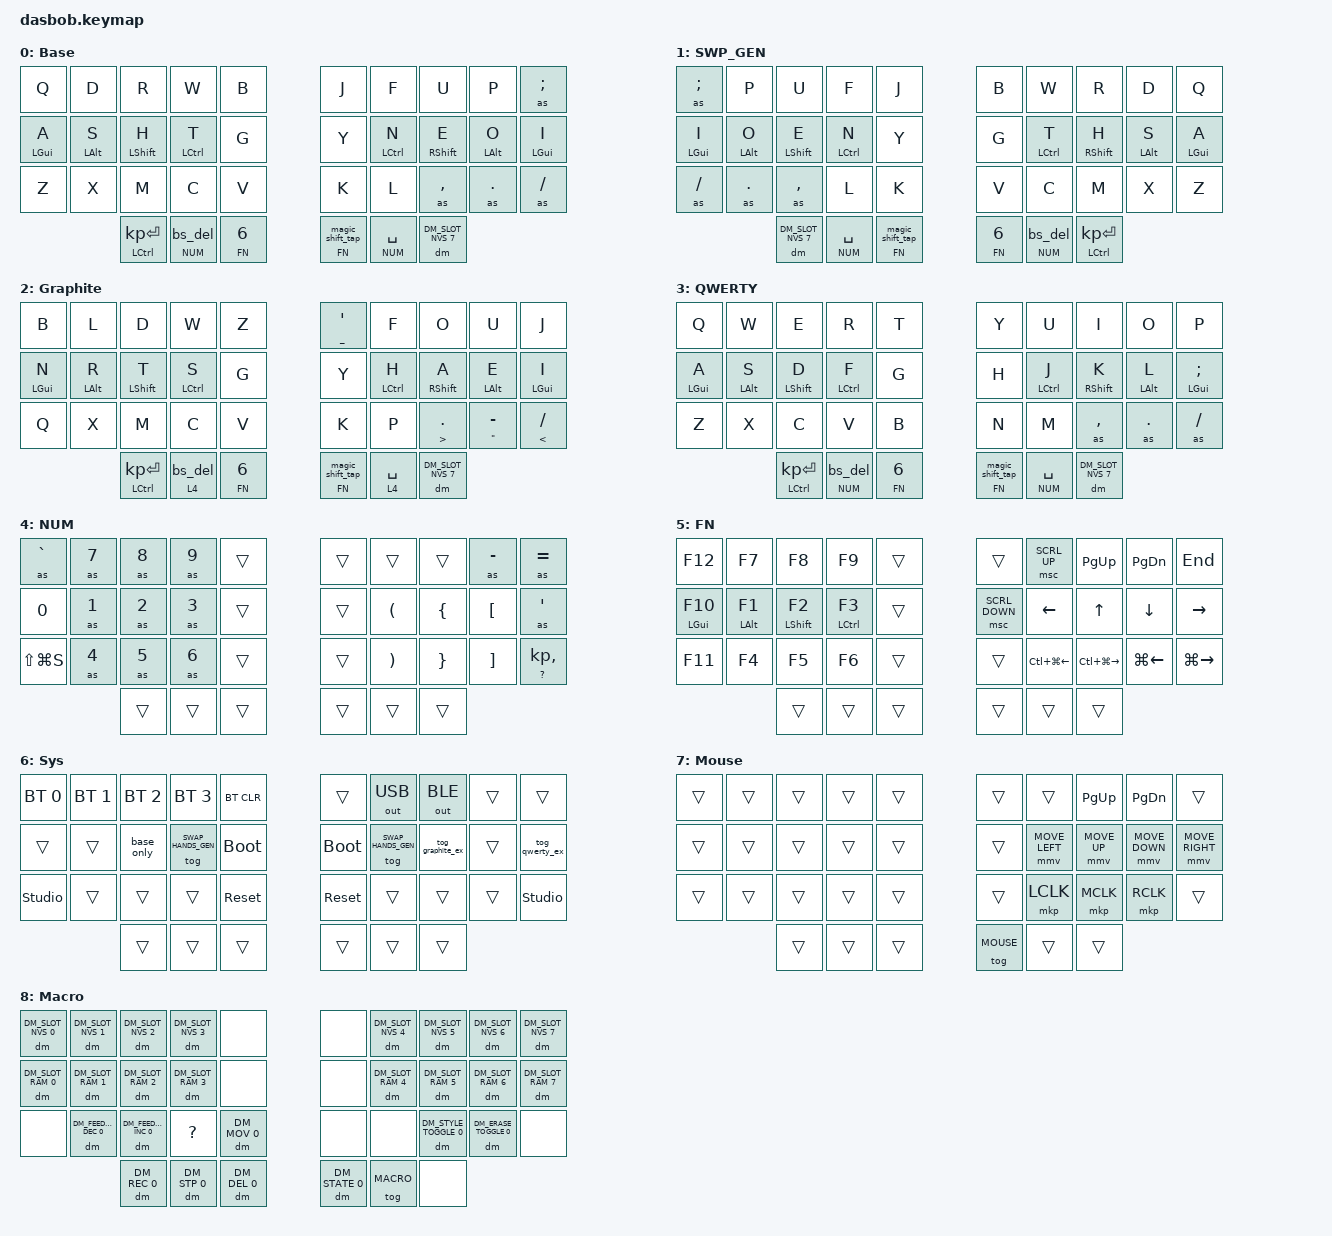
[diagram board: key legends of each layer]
#include <behaviors/num_word.dtsi>

/* Mouse settings - must be before pointing.h */

#define ZMK_POINTING_DEFAULT_MOVE_VAL 600
#define ZMK_POINTING_DEFAULT_SCRL_VAL 20

#include <input/processors.dtsi>
#include <zephyr/dt-bindings/input/input-event-codes.h>
#include <dt-bindings/zmk/dynamic_macros.h>
#include <behaviors/dynamic_macro.dtsi>
#include <behaviors.dtsi>
#include <dt-bindings/zmk/bt.h>
#include <dt-bindings/zmk/keys.h>
#include <dt-bindings/zmk/outputs.h>
#include <dt-bindings/zmk/pointing.h>

#define BASE 0
#define SWAP_HANDS_GEN 1
#define GRAPHITE 2
#define QWERTY 3
#define NUM 4
#define FN 5
#define SYS 6
#define MOUSE 7
#define MACRO 8
#define LAYERS_TYPING BASE SWAP_HANDS_GEN GRAPHITE QWERTY NUM
#define KEYS_L 0 1 2 3 4 10 11 12 13 14 20 21 22 23 24
#define KEYS_R 5 6 7 8 9 15 16 17 18 19 25 26 27 28 29
#define THUMBS 30 31 32 33 34 35
#define QUICK_TAP_MS 175

&sk {
    release-after-ms = <900>;
    quick-release;
};

&sl {
    ignore-modifiers;
    release-after-ms = <2500>;
};

&lt {
    flavor = "balanced";
    tapping-term-ms = <200>;
    quick-tap-ms = <175>;
};

&mmv {
    acceleration-exponent = <1>;
    time-to-max-speed-ms = <500>;
    delay-ms = <0>;
};

&msc {
    acceleration-exponent = <0>;
    time-to-max-speed-ms = <300>;
    delay-ms = <0>;
};

/* Pointer sensitivity overrides (trackpad / trackball via input-listeners).
 * warp: faster cursor/scroll when the layer is active.
 * precision: slower cursor/scroll for fine control.
 * urob uses NAV + FN; on Dasbob that maps to FN (Nav) + NUM (sym). */

&mmv_input_listener {
    warp {
        layers = <FN MOUSE>;
        input-processors = <&zip_xy_scaler 3 1>;
    };

    precision {
        layers = <NUM>;
        input-processors = <&zip_xy_scaler 1 2>;
    };
};

&msc_input_listener {
    warp {
        layers = <FN MOUSE>;
        input-processors = <&zip_scroll_scaler 2 1>;
    };

    precision {
        layers = <NUM>;
        input-processors = <&zip_scroll_scaler 1 2>;
    };
};

&mt {
    flavor = "tap-preferred";
    tapping-term-ms = <220>;
    quick-tap-ms = <220>;
    hold-trigger-key-positions = <0>;
};

&caps_word { /delete-property/ ignore-modifiers; };

/* numword continue-list override - add UNDER for snake_case */

&num_word { continue-list = <BACKSPACE DELETE DOT COMMA PLUS MINUS STAR FSLH EQUAL UNDER>; };

/ {
    behaviors {
        /* Autoshift hold-tap - hold sends shifted version */

        as_ht: as_ht {
            compatible = "zmk,behavior-hold-tap";
            #binding-cells = <2>;
            bindings = <&shifted>, <&kp>;

            flavor = "tap-preferred";
            tapping-term-ms = <200>;
            quick-tap-ms = <QUICK_TAP_MS>;
        };

        as_pair: as_pair {
            compatible = "zmk,behavior-hold-tap";
            #binding-cells = <2>;
            bindings = <&kp>, <&kp>;

            flavor = "tap-preferred";
            tapping-term-ms = <200>;
            quick-tap-ms = <QUICK_TAP_MS>;
        };

        hml: hml {
            compatible = "zmk,behavior-hold-tap";
            #binding-cells = <2>;
            bindings = <&kp>, <&kp>;

            flavor = "balanced";
            tapping-term-ms = <400>;
            quick-tap-ms = <200>;
            require-prior-idle-ms = <250>;
            hold-trigger-on-release;
            hold-trigger-key-positions = <5 6 7 8 9 15 16 17 18 19 25 26 27 28 29 30 31 32 33 34 35>;
        };

        hmr: hmr {
            compatible = "zmk,behavior-hold-tap";
            #binding-cells = <2>;
            bindings = <&kp>, <&kp>;

            flavor = "balanced";
            tapping-term-ms = <400>;
            quick-tap-ms = <200>;
            require-prior-idle-ms = <300>;
            hold-trigger-on-release;
            hold-trigger-key-positions = <1 2 3 4 10 11 12 13 14 20 21 22 23 24 30 31 32 33 34 35 0>;
        };

        masked_home: masked_home {
            compatible = "zmk,behavior-mod-morph";
            #binding-cells = <0>;
            bindings = <&kp HOME>, <&kp HOME>;

            mods = <(MOD_LCTL)>;
        };

        masked_end: masked_end {
            compatible = "zmk,behavior-mod-morph";
            #binding-cells = <0>;
            bindings = <&kp END>, <&kp END>;

            mods = <(MOD_LCTL)>;
        };

        mt_home: mt_home {
            compatible = "zmk,behavior-hold-tap";
            #binding-cells = <2>;
            bindings = <&masked_home>, <&kp>;

            flavor = "tap-preferred";
            tapping-term-ms = <220>;
            quick-tap-ms = <220>;
            hold-trigger-key-positions = <0>;
        };

        mt_end: mt_end {
            compatible = "zmk,behavior-hold-tap";
            #binding-cells = <2>;
            bindings = <&masked_end>, <&kp>;

            flavor = "tap-preferred";
            tapping-term-ms = <220>;
            quick-tap-ms = <220>;
            hold-trigger-key-positions = <0>;
        };

        magic_shift_hold: magic_shift_hold {
            compatible = "zmk,behavior-macro-one-param";
            #binding-cells = <1>;
            wait-ms = <0>;
            tap-ms = <0>;
            bindings =
                <&macro_tap>,
                <&kp K_CANCEL &macro_param_1to1>,
                <&macro_press>,
                <&mo MACRO_PLACEHOLDER>,
                <&macro_pause_for_release>,
                <&macro_param_1to1>,
                <&macro_release>,
                <&mo MACRO_PLACEHOLDER>;
        };

        magic_shift: magic_shift {
            compatible = "zmk,behavior-hold-tap";
            #binding-cells = <2>;
            bindings = <&magic_shift_hold>, <&magic_shift_tap>;

            flavor = "balanced";
            tapping-term-ms = <250>;
            quick-tap-ms = <200>;
        };

        magic_shift_tap: magic_shift_tap {
            compatible = "zmk,behavior-mod-morph";
            #binding-cells = <0>;
            bindings = <&sk LSHFT>, <&caps_word>;

            mods = <(MOD_LSFT)>;
        };

        lt_spc: lt_spc {
            compatible = "zmk,behavior-hold-tap";
            #binding-cells = <2>;
            bindings = <&mo>, <&kp>;

            flavor = "balanced";
            tapping-term-ms = <250>;
            quick-tap-ms = <200>;
        };

        dm_nvs_play: dm_nvs_play {
            compatible = "zmk,behavior-macro-one-param";
            #binding-cells = <1>;
            wait-ms = <0>;
            tap-ms = <0>;
            bindings = <&macro_param_1to2 &dm DM_SLOT_NVS MACRO_PLACEHOLDER>;
        };

        lt_dm_nvs: lt_dm_nvs {
            compatible = "zmk,behavior-hold-tap";
            #binding-cells = <2>;
            bindings = <&mo>, <&dm_nvs_play>;

            flavor = "balanced";
            tapping-term-ms = <250>;
            quick-tap-ms = <200>;
        };

        bs_del: bs_del {
            compatible = "zmk,behavior-mod-morph";
            #binding-cells = <0>;
            bindings = <&kp BACKSPACE>, <&kp DEL>;

            mods = <(MOD_LSFT|MOD_RSFT)>;
            keep-mods = <MOD_RSFT>;
        };

        de_ae_morph: de_ae_morph {
            compatible = "zmk,behavior-mod-morph";
            #binding-cells = <0>;
            bindings = <&win_de_ae>, <&win_de_cap_ae>;

            mods = <(MOD_LSFT|MOD_RSFT)>;
        };

        de_oe_morph: de_oe_morph {
            compatible = "zmk,behavior-mod-morph";
            #binding-cells = <0>;
            bindings = <&win_de_oe>, <&win_de_cap_oe>;

            mods = <(MOD_LSFT|MOD_RSFT)>;
        };

        de_ue_morph: de_ue_morph {
            compatible = "zmk,behavior-mod-morph";
            #binding-cells = <0>;
            bindings = <&win_de_ue>, <&win_de_cap_ue>;

            mods = <(MOD_LSFT|MOD_RSFT)>;
        };

        leader_sft: leader_sft {
            compatible = "zmk,behavior-macro";
            #binding-cells = <0>;
            bindings = <&sk LSHFT &leader>;
        };

        leader: leader {
            compatible = "zmk,behavior-leader-key";
            #binding-cells = <0>;
            ignore-keys = <LSHFT RSHFT>;

            leader_sequence_de_ae {
                bindings = <&de_ae_morph>;
                sequence = <A>;
            };

            leader_sequence_de_oe {
                bindings = <&de_oe_morph>;
                sequence = <O>;
            };

            leader_sequence_de_ue {
                bindings = <&de_ue_morph>;
                sequence = <U>;
            };

            leader_sequence_de_eszett {
                bindings = <&win_de_ss>;
                sequence = <S>;
            };
        };

        lt_bs_del: lt_bs_del {
            compatible = "zmk,behavior-hold-tap";
            label = "LT_BS_DEL";
            bindings = <&mo>, <&bs_del>;

            #binding-cells = <2>;
            tapping-term-ms = <280>;
            quick-tap-ms = <260>;
            flavor = "balanced";
        };

        sticky_toggle: sticky_toggle {
            compatible = "zmk,behavior-hold-tap";
            label = "STICKY_TOGGLE";
            bindings = <&tog>, <&sl>;

            #binding-cells = <2>;
            tapping-term-ms = <220>;
        };

        enter_ctrl: enter_ctrl {
            compatible = "zmk,behavior-hold-tap";
            label = "ENTER_CTRL";
            bindings = <&kp>, <&kp>;

            #binding-cells = <2>;
            tapping-term-ms = <200>;
            quick-tap-ms = <120>;
            require-prior-idle-ms = <100>;
        };

        tog_off: tog_off {
            compatible = "zmk,behavior-toggle-layer";
            #binding-cells = <1>;
            toggle-mode = "off";
        };
    };

    macros {
        shifted: macro_shifted_kp {
            #binding-cells = <1>;
            label = "MACRO_SHIFTED_KP";
            compatible = "zmk,behavior-macro-one-param";
            bindings =
                <&macro_press>,
                <&kp LSHFT &macro_param_1to1>,
                <&macro_tap>,
                <&kp MACRO_PLACEHOLDER>,
                <&macro_release>,
                <&kp LSHFT>;
        };

        as: autoshift {
            compatible = "zmk,behavior-macro-one-param";
            #binding-cells = <1>;
            label = "AUTOSHIFT_KP";
            bindings =
                <&macro_press>,
                <&macro_param_1to1 &macro_param_1to2 &as_ht MACRO_PLACEHOLDER MACRO_PLACEHOLDER>,
                <&macro_pause_for_release>,
                <&macro_release>,
                <&macro_param_1to1 &macro_param_1to2 &as_ht MACRO_PLACEHOLDER MACRO_PLACEHOLDER>;
        };

        /* Windows Alt+numpad codes for German umlauts */

        win_de_ae: win_de_ae {
            compatible = "zmk,behavior-macro";
            #binding-cells = <0>;
            label = "WIN_DE_AE";
            wait-ms = <40>;
            tap-ms = <40>;
            bindings =
                <&macro_press>,
                <&kp LALT>,
                <&macro_tap>,
                <&kp KP_N0 &kp KP_N2 &kp KP_N2 &kp KP_N8>,
                <&macro_release>,
                <&kp LALT>;
        };

        win_de_oe: win_de_oe {
            compatible = "zmk,behavior-macro";
            #binding-cells = <0>;
            label = "WIN_DE_OE";
            wait-ms = <40>;
            tap-ms = <40>;
            bindings =
                <&macro_press>,
                <&kp LALT>,
                <&macro_tap>,
                <&kp KP_N0 &kp KP_N2 &kp KP_N4 &kp KP_N6>,
                <&macro_release>,
                <&kp LALT>;
        };

        win_de_ue: win_de_ue {
            compatible = "zmk,behavior-macro";
            #binding-cells = <0>;
            label = "WIN_DE_UE";
            wait-ms = <40>;
            tap-ms = <40>;
            bindings =
                <&macro_press>,
                <&kp LALT>,
                <&macro_tap>,
                <&kp KP_N0 &kp KP_N2 &kp KP_N5 &kp KP_N2>,
                <&macro_release>,
                <&kp LALT>;
        };

        win_de_ss: win_de_ss {
            compatible = "zmk,behavior-macro";
            #binding-cells = <0>;
            label = "WIN_DE_SS";
            wait-ms = <40>;
            tap-ms = <40>;
            bindings =
                <&macro_press>,
                <&kp LALT>,
                <&macro_tap>,
                <&kp KP_N0 &kp KP_N2 &kp KP_N2 &kp KP_N3>,
                <&macro_release>,
                <&kp LALT>;
        };

        win_de_cap_ae: win_de_cap_ae {
            compatible = "zmk,behavior-macro";
            #binding-cells = <0>;
            label = "WIN_DE_CAP_AE";
            wait-ms = <40>;
            tap-ms = <40>;
            bindings =
                <&macro_press>,
                <&kp LALT>,
                <&macro_tap>,
                <&kp KP_N0 &kp KP_N1 &kp KP_N9 &kp KP_N6>,
                <&macro_release>,
                <&kp LALT>;
        };

        win_de_cap_oe: win_de_cap_oe {
            compatible = "zmk,behavior-macro";
            #binding-cells = <0>;
            label = "WIN_DE_CAP_OE";
            wait-ms = <40>;
            tap-ms = <40>;
            bindings =
                <&macro_press>,
                <&kp LALT>,
                <&macro_tap>,
                <&kp KP_N0 &kp KP_N2 &kp KP_N1 &kp KP_N4>,
                <&macro_release>,
                <&kp LALT>;
        };

        win_de_cap_ue: win_de_cap_ue {
            compatible = "zmk,behavior-macro";
            #binding-cells = <0>;
            label = "WIN_DE_CAP_UE";
            wait-ms = <40>;
            tap-ms = <40>;
            bindings =
                <&macro_press>,
                <&kp LALT>,
                <&macro_tap>,
                <&kp KP_N0 &kp KP_N2 &kp KP_N2 &kp KP_N0>,
                <&macro_release>,
                <&kp LALT>;
        };

        tog_graphite_ex: tog_graphite_ex {
            compatible = "zmk,behavior-macro";
            #binding-cells = <0>;
            bindings =
                <&macro_tap>,
                <&tog_off QWERTY>,
                <&macro_tap>,
                <&tog GRAPHITE>;
        };

        tog_qwerty_ex: tog_qwerty_ex {
            compatible = "zmk,behavior-macro";
            #binding-cells = <0>;
            bindings =
                <&macro_tap>,
                <&tog_off GRAPHITE>,
                <&macro_tap>,
                <&tog QWERTY>;
        };

        base_only: base_only {
            compatible = "zmk,behavior-macro";
            #binding-cells = <0>;
            bindings =
                <&macro_tap>,
                <&tog_off GRAPHITE>,
                <&macro_tap>,
                <&tog_off QWERTY>;
        };

        macro_del_word: macro_del_word {
            compatible = "zmk,behavior-macro";
            #binding-cells = <0>;
            bindings = <&kp LC(BACKSPACE)>;
            label = "MACRO_DEL_WORD";
        };
    };

    combos {
        compatible = "zmk,combos";

        combo_esc {
            bindings = <&kp ESC>;
            key-positions = <10 11>;
            layers = <LAYERS_TYPING>;
            timeout-ms = <35>;
            require-prior-idle-ms = <150>;
        };

        combo_mouse {
            bindings = <&tog MOUSE>;
            key-positions = <5 15>;
            layers = <LAYERS_TYPING>;
            timeout-ms = <35>;
            require-prior-idle-ms = <150>;
        };

        combo_alt_tab {
            bindings = <&hml LS(LALT)TAB>;
            key-positions = <11 1>;
            layers = <LAYERS_TYPING>;
            timeout-ms = <35>;
            require-prior-idle-ms = <150>;
        };

        combo_ldr {
            bindings = <&leader>;
            key-positions = <6 16>;
            layers = <LAYERS_TYPING>;
            timeout-ms = <35>;
            require-prior-idle-ms = <150>;
        };

        combo_cut {
            bindings = <&kp LC(X)>;
            key-positions = <21 23>;
            layers = <LAYERS_TYPING>;
            timeout-ms = <35>;
            require-prior-idle-ms = <150>;
        };

        combo_copy {
            bindings = <&kp LC(C)>;
            key-positions = <22 21>;
            layers = <LAYERS_TYPING>;
            timeout-ms = <35>;
            require-prior-idle-ms = <150>;
        };

        combo_paste {
            bindings = <&kp LC(V)>;
            key-positions = <23 22>;
            layers = <LAYERS_TYPING>;
            timeout-ms = <35>;
            require-prior-idle-ms = <150>;
        };

        combo_bspc {
            bindings = <&bs_del>;
            key-positions = <13 14>;
            layers = <LAYERS_TYPING>;
            timeout-ms = <35>;
            require-prior-idle-ms = <150>;
        };

        tab {
            bindings = <&kp TAB>;
            key-positions = <13 3>;
            layers = <LAYERS_TYPING>;
            timeout-ms = <35>;
            require-prior-idle-ms = <150>;
        };

        enter {
            bindings = <&kp ENTER>;
            key-positions = <12 2>;
            layers = <LAYERS_TYPING>;
            timeout-ms = <35>;
            require-prior-idle-ms = <150>;
        };

        menu {
            bindings = <&kp C_MENU>;
            key-positions = <3 2>;
            layers = <LAYERS_TYPING>;
            timeout-ms = <35>;
            require-prior-idle-ms = <150>;
        };

        backslash_pipe {
            bindings = <&as BACKSLASH>;
            key-positions = <19 29>;
            layers = <LAYERS_TYPING>;
            timeout-ms = <35>;
            require-prior-idle-ms = <150>;
        };

        combo_to_makro_layer {
            bindings = <&sticky_toggle MACRO MACRO>;
            key-positions = <4 14>;
            layers = <LAYERS_TYPING>;
            timeout-ms = <35>;
            require-prior-idle-ms = <150>;
        };

        combo_shift_copy {
            bindings = <&kp LC(LS(C))>;
            key-positions = <23 22 21>;
            layers = <LAYERS_TYPING>;
            timeout-ms = <35>;
            require-prior-idle-ms = <150>;
        };

        combo_space {
            bindings = <&kp SPACE>;
            key-positions = <15 16>;
            layers = <LAYERS_TYPING>;
            timeout-ms = <35>;
            require-prior-idle-ms = <150>;
        };
    };

    conditional_layers {
        compatible = "zmk,conditional-layers";

        sys_layer {
            if-layers = <NUM FN>;
            then-layer = <SYS>;
        };
    };

    keymap {
        compatible = "zmk,keymap";

        layer_Base {
            display-name = "Base";
            bindings = <
&kp Q        &kp D        &kp R                       &kp W             &kp B            &kp J              &kp F              &kp U              &kp P        &as SEMI
&hml LGUI A  &hml LALT S  &hml LSHFT H                &hml LCTRL T      &kp G            &kp Y              &hmr LCTRL N       &hmr RSHFT E       &hmr LALT O  &hmr LGUI I
&kp Z        &kp X        &kp M                       &kp C             &kp V            &kp K              &kp L              &as COMMA          &as DOT      &as FSLH
                          &enter_ctrl LCTRL KP_ENTER  &lt_bs_del NUM 0  &lt_dm_nvs FN 6  &magic_shift FN 0  &lt_spc NUM SPACE  &dm DM_SLOT_NVS 7
            >;
        };

        layer_SWP_GEN {
            display-name = "SWP_GEN";
            bindings = <
                &as SEMI &kp P &kp U &kp F &kp J &kp B &kp W &kp R &kp D &kp Q
                &hml LGUI I &hml LALT O &hml LSHFT E &hml LCTRL N &kp Y &kp G &hmr LCTRL T &hmr RSHFT H &hmr LALT S &hmr LGUI A
                &as FSLH &as DOT &as COMMA &kp L &kp K &kp V &kp C &kp M &kp X &kp Z
                &dm DM_SLOT_NVS 7 &lt_spc NUM SPACE &magic_shift FN 0 &lt_dm_nvs FN 6 &lt_bs_del NUM 0 &enter_ctrl LCTRL KP_ENTER
            >;
        };

        layer_Graphite {
            display-name = "Graphite";
            bindings = <
&kp B        &kp L        &kp D                       &kp W           &kp Z            &as_pair UNDER SINGLE_QUOTE  &kp F            &kp O                      &kp U                         &kp J
&hml LGUI N  &hml LALT R  &hml LSHFT T                &hml LCTRL S    &kp G            &kp Y                        &hmr LCTRL H     &hmr RSHFT A               &hmr LALT E                   &hmr LGUI I
&kp Q        &kp X        &kp M                       &kp C           &kp V            &kp K                        &kp P            &as_pair GREATER_THAN DOT  &as_pair DOUBLE_QUOTES MINUS  &as_pair LESS_THAN FSLH
                          &enter_ctrl LCTRL KP_ENTER  &lt_bs_del 4 0  &lt_dm_nvs FN 6  &magic_shift FN 0            &lt_spc 4 SPACE  &dm DM_SLOT_NVS 7
            >;
        };

        layer_QWERTY {
            display-name = "QWERTY";
            bindings = <
&kp Q        &kp W        &kp E                       &kp R             &kp T            &kp Y              &kp U              &kp I              &kp O        &kp P
&hml LGUI A  &hml LALT S  &hml LSHFT D                &hml LCTRL F      &kp G            &kp H              &hmr LCTRL J       &hmr RSHFT K       &hmr LALT L  &hmr LGUI SEMI
&kp Z        &kp X        &kp C                       &kp V             &kp B            &kp N              &kp M              &as COMMA          &as DOT      &as FSLH
                          &enter_ctrl LCTRL KP_ENTER  &lt_bs_del NUM 0  &lt_dm_nvs FN 6  &magic_shift FN 0  &lt_spc NUM SPACE  &dm DM_SLOT_NVS 7
            >;
        };

        layer_NUM {
            display-name = "NUM";
            bindings = <
&as GRAVE      &as N7  &as N8  &as N9  &trans  &trans  &trans    &trans    &as MINUS  &as EQUAL
&kp N0         &as N1  &as N2  &as N3  &trans  &trans  &kp LPAR  &kp LBRC  &kp LBKT   &as SINGLE_QUOTE
&kp LS(LG(S))  &as N4  &as N5  &as N6  &trans  &trans  &kp RPAR  &kp RBRC  &kp RBKT   &as_pair QUESTION KP_COMMA
                       &trans  &trans  &trans  &trans  &trans    &trans
            >;
        };

        layer_FN {
            display-name = "FN";
            bindings = <
&kp F12        &kp F7        &kp F8         &kp F9         &trans  &trans          &msc SCRL_UP      &kp PAGE_UP        &kp PAGE_DOWN  &kp END
&hml LGUI F10  &hml LALT F1  &hml LSHFT F2  &hml LCTRL F3  &trans  &msc SCRL_DOWN  &kp LEFT          &kp UP             &kp DOWN       &kp RIGHT
&kp F11        &kp F4        &kp F5         &kp F6         &trans  &trans          &kp LC(LG(LEFT))  &kp LC(LG(RIGHT))  &kp LG(LEFT)   &kp LG(RIGHT)
                             &trans         &trans         &trans  &trans          &trans            &trans
            >;
        };

        layer_Sys {
            display-name = "Sys";
            bindings = <
&bt BT_SEL 0    &bt BT_SEL 1  &bt BT_SEL 2  &bt BT_SEL 3         &bt BT_CLR   &trans       &out OUT_USB         &out OUT_BLE      &trans  &trans
&trans          &trans        &base_only    &tog SWAP_HANDS_GEN  &bootloader  &bootloader  &tog SWAP_HANDS_GEN  &tog_graphite_ex  &trans  &tog_qwerty_ex
&studio_unlock  &trans        &trans        &trans               &sys_reset   &sys_reset   &trans               &trans            &trans  &studio_unlock
                              &trans        &trans               &trans       &trans       &trans               &trans
            >;
        };

        layer_Mouse {
            display-name = "Mouse";
            bindings = <
&trans  &trans  &trans  &trans  &trans  &trans      &trans          &kp PAGE_UP   &kp PG_DN       &trans
&trans  &trans  &trans  &trans  &trans  &trans      &mmv MOVE_LEFT  &mmv MOVE_UP  &mmv MOVE_DOWN  &mmv MOVE_RIGHT
&trans  &trans  &trans  &trans  &trans  &trans      &mkp LCLK       &mkp MCLK     &mkp RCLK       &trans
                &trans  &trans  &trans  &tog MOUSE  &trans          &trans
            >;
        };

        layer_Macro {
            display-name = "Macro";
            bindings = <
&dm DM_SLOT_NVS 0  &dm DM_SLOT_NVS 1      &dm DM_SLOT_NVS 2      &dm DM_SLOT_NVS 3  &none         &none           &dm DM_SLOT_NVS 4  &dm DM_SLOT_NVS 5      &dm DM_SLOT_NVS 6      &dm DM_SLOT_NVS 7
&dm DM_SLOT_RAM 0  &dm DM_SLOT_RAM 1      &dm DM_SLOT_RAM 2      &dm DM_SLOT_RAM 3  &none         &none           &dm DM_SLOT_RAM 4  &dm DM_SLOT_RAM 5      &dm DM_SLOT_RAM 6      &dm DM_SLOT_RAM 7
&none              &dm DM_FEEDBACK_DEC 0  &dm DM_FEEDBACK_INC 0  &kp QMARK          &dm DM_MOV 0  &none           &none              &dm DM_STYLE_TOGGLE 0  &dm DM_ERASE_TOGGLE 0  &none
                                          &dm DM_REC 0           &dm DM_STP 0       &dm DM_DEL 0  &dm DM_STATE 0  &tog MACRO         &none
            >;
        };
    };
};
